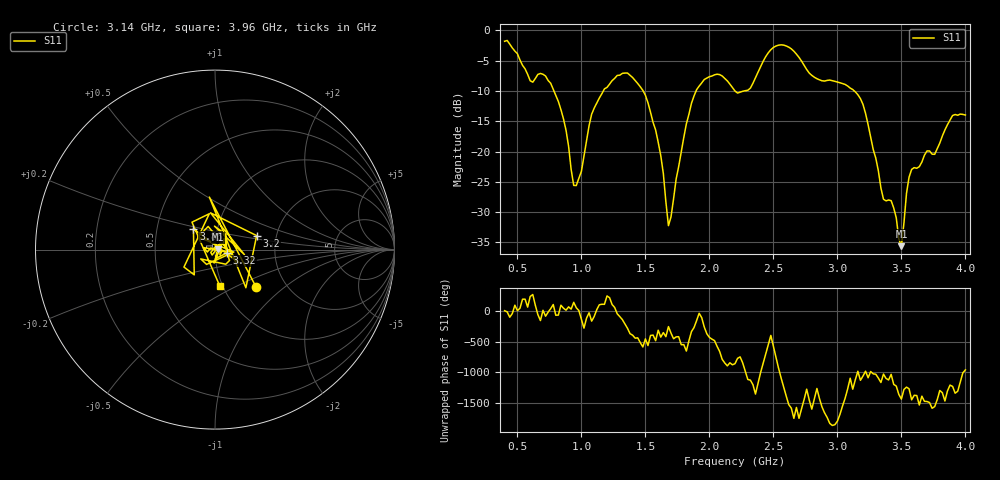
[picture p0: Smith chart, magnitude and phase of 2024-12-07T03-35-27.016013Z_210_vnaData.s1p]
!Created with skrf (http://scikit-rf.org).
# Hz S RI R 50.0
!freq ReS11 ImS11
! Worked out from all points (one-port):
!   181 points, 400 MHz to 4 GHz, reference 50 ohm
!   lowest |S11| = -35.6 dB at 3.5 GHz (marker M1), VSWR 1.03, Z = 51.7 + j0.0952 ohm
!   |S11| at or under -10 dB: 786.1 MHz to 1.171 GHz (385 MHz wide, 39.3 % of centre); 1.483 GHz to 1.896 GHz (413.2 MHz wide, 24.5 % of centre); 3.133 GHz to end of sweep (the widest 3 of 4)
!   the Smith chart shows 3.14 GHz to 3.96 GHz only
!   S11 on the Smith chart (normalised r, x): 3.14 GHz: 1.42, -0.66; 3.2 GHz: 1.58, +0.26; 3.32 GHz: 1.14, -0.04; 3.86 GHz: 0.77, +0.18; 3.96 GHz: 0.97, -0.41
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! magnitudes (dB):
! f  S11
! 400 MHz  -1.8
! 600 MHz  -8.3
! 720 MHz  -7.5
! 860 MHz  -14.6
! 940 MHz  -25.6
! 960 MHz  -25.6
! 1.08 GHz  -13.8
! 1.3 GHz  -7.4
! 1.52 GHz  -11.9
! 1.62 GHz  -20.7
! 1.68 GHz  -32.2
! 1.76 GHz  -22.5
! 1.92 GHz  -9.2
! 2.06 GHz  -7.2
! 2.2 GHz  -10.0
! 2.32 GHz  -9.5
! 2.5 GHz  -2.8
! 2.66 GHz  -3.4
! 3.1 GHz  -9.5
! 3.14 GHz  -10.1
! 3.2 GHz  -12.2
! 3.32 GHz  -23.2
! 3.44 GHz  -29.3
! 3.5 GHz  -35.6
! 3.56 GHz  -24.2
! 3.86 GHz  -15.6
! 3.96 GHz  -13.8
! 4 GHz  -14.0
